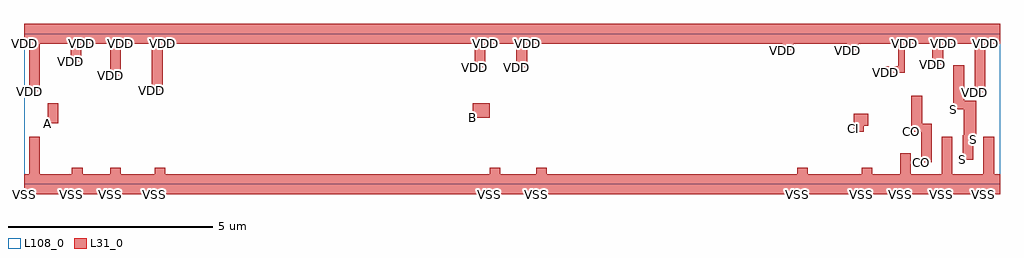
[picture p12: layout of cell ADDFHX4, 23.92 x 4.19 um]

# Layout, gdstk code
import gdstk
lib = gdstk.Library(unit=1e-6, precision=1e-09)
def R(c, l, rs):  # rectangles x0, y0, x1, y1
    for r in rs: c.add(gdstk.rectangle(r[:2], r[2:], *l))
L31_0 = (31, 0)
L108_0 = (108, 0)

addfhx4 = lib.new_cell('ADDFHX4')
R(addfhx4, L31_0, [(0,-0.25,0.125,0.25), (0.125,-0.25,0.385,1.165), (0.385,-0.25,1.175,0.25), (1.175,-0.25,1.435,0.405), (1.435,-0.25,2.115,0.25), (2.115,-0.25,2.375,0.405), (2.375,-0.25,3.205,0.25), (3.205,-0.25,3.465,0.405), (3.465,-0.25,11.41,0.25), (11.41,-0.25,11.67,0.405), (11.67,-0.25,12.55,0.25), (12.55,-0.25,12.81,0.405), (12.81,-0.25,18.945,0.25), (18.945,-0.25,19.205,0.405), (19.205,-0.25,20.535,0.25), (20.535,-0.25,20.795,0.405), (20.795,-0.25,21.475,0.25), (21.475,-0.25,21.735,0.755), (21.735,-0.25,22.495,0.25), (22.495,-0.25,22.755,1.17), (22.755,-0.25,23.515,0.25), (23.515,-0.25,23.775,1.17), (23.775,-0.25,23.92,0.25), (21.985,0.54,22.015,2.165), (22.015,0.54,22.245,1.485), (23.005,0.6,23.03,1.2), (23.03,0.6,23.04,2.92), (23.04,0.6,23.265,2.045), (23.265,1.105,23.335,2.045), (20.365,1.29,20.575,1.725), (21.745,1.29,21.985,2.165), (20.34,1.355,20.365,1.725), (20.575,1.435,20.695,1.725), (0.585,1.5,0.84,1.99), (10.995,1.635,11.41,1.99), (22.78,1.845,23.03,2.92), (23.3,2.255,23.56,3.94), (0.125,2.275,0.385,3.94), (3.135,2.31,3.395,3.94), (2.115,2.655,2.375,3.94), (21.12,2.73,21.425,2.89), (21.425,2.73,21.585,3.94), (11.05,2.87,11.31,3.94), (12.07,2.87,12.33,3.94), (22.265,2.935,22.525,3.94), (1.145,3.005,1.405,3.94), (18.59,3.285,18.85,3.94), (20.18,3.285,20.44,3.94), (0,3.44,0.125,3.94), (0.385,3.44,1.145,3.94), (1.405,3.44,2.115,3.94), (2.375,3.44,3.135,3.94), (3.395,3.44,11.05,3.94), (11.31,3.44,12.07,3.94), (12.33,3.44,18.59,3.94), (18.85,3.44,20.18,3.94), (20.44,3.44,21.425,3.94), (21.585,3.44,22.265,3.94), (22.525,3.44,23.3,3.94), (23.56,3.44,23.92,3.94)])
R(addfhx4, L108_0, [(0,0,23.92,3.69)])
addfhx4.add(gdstk.Label('S', (22.78,1.845), layer=131, texttype=0))
addfhx4.add(gdstk.Label('S', (23.005,0.6), layer=131, texttype=0))
addfhx4.add(gdstk.Label('S', (23.03,0.6), layer=131, texttype=0))
addfhx4.add(gdstk.Label('S', (23.04,0.6), layer=131, texttype=0))
addfhx4.add(gdstk.Label('S', (23.265,1.105), layer=131, texttype=0))
addfhx4.add(gdstk.Label('CO', (21.745,1.29), layer=131, texttype=0))
addfhx4.add(gdstk.Label('CO', (21.985,0.54), layer=131, texttype=0))
addfhx4.add(gdstk.Label('CO', (22.015,0.54), layer=131, texttype=0))
addfhx4.add(gdstk.Label('CI', (20.34,1.355), layer=131, texttype=0))
addfhx4.add(gdstk.Label('CI', (20.365,1.29), layer=131, texttype=0))
addfhx4.add(gdstk.Label('CI', (20.575,1.435), layer=131, texttype=0))
addfhx4.add(gdstk.Label('B', (10.995,1.635), layer=131, texttype=0))
addfhx4.add(gdstk.Label('A', (0.585,1.5), layer=131, texttype=0))
addfhx4.add(gdstk.Label('VSS', (0,-0.25), layer=131, texttype=0))
addfhx4.add(gdstk.Label('VSS', (0.125,-0.25), layer=131, texttype=0))
addfhx4.add(gdstk.Label('VSS', (0.385,-0.25), layer=131, texttype=0))
addfhx4.add(gdstk.Label('VSS', (1.175,-0.25), layer=131, texttype=0))
addfhx4.add(gdstk.Label('VSS', (1.435,-0.25), layer=131, texttype=0))
addfhx4.add(gdstk.Label('VSS', (2.115,-0.25), layer=131, texttype=0))
addfhx4.add(gdstk.Label('VSS', (2.375,-0.25), layer=131, texttype=0))
addfhx4.add(gdstk.Label('VSS', (3.205,-0.25), layer=131, texttype=0))
addfhx4.add(gdstk.Label('VSS', (3.465,-0.25), layer=131, texttype=0))
addfhx4.add(gdstk.Label('VSS', (11.41,-0.25), layer=131, texttype=0))
addfhx4.add(gdstk.Label('VSS', (11.67,-0.25), layer=131, texttype=0))
addfhx4.add(gdstk.Label('VSS', (12.55,-0.25), layer=131, texttype=0))
addfhx4.add(gdstk.Label('VSS', (12.81,-0.25), layer=131, texttype=0))
addfhx4.add(gdstk.Label('VSS', (18.945,-0.25), layer=131, texttype=0))
addfhx4.add(gdstk.Label('VSS', (19.205,-0.25), layer=131, texttype=0))
addfhx4.add(gdstk.Label('VSS', (20.535,-0.25), layer=131, texttype=0))
addfhx4.add(gdstk.Label('VSS', (20.795,-0.25), layer=131, texttype=0))
addfhx4.add(gdstk.Label('VSS', (21.475,-0.25), layer=131, texttype=0))
addfhx4.add(gdstk.Label('VSS', (21.735,-0.25), layer=131, texttype=0))
addfhx4.add(gdstk.Label('VSS', (22.495,-0.25), layer=131, texttype=0))
addfhx4.add(gdstk.Label('VSS', (22.755,-0.25), layer=131, texttype=0))
addfhx4.add(gdstk.Label('VSS', (23.515,-0.25), layer=131, texttype=0))
addfhx4.add(gdstk.Label('VSS', (23.775,-0.25), layer=131, texttype=0))
addfhx4.add(gdstk.Label('VDD', (0,3.44), layer=131, texttype=0))
addfhx4.add(gdstk.Label('VDD', (0.125,2.275), layer=131, texttype=0))
addfhx4.add(gdstk.Label('VDD', (0.385,3.44), layer=131, texttype=0))
addfhx4.add(gdstk.Label('VDD', (1.145,3.005), layer=131, texttype=0))
addfhx4.add(gdstk.Label('VDD', (1.405,3.44), layer=131, texttype=0))
addfhx4.add(gdstk.Label('VDD', (2.115,2.655), layer=131, texttype=0))
addfhx4.add(gdstk.Label('VDD', (2.375,3.44), layer=131, texttype=0))
addfhx4.add(gdstk.Label('VDD', (3.135,2.31), layer=131, texttype=0))
addfhx4.add(gdstk.Label('VDD', (3.395,3.44), layer=131, texttype=0))
addfhx4.add(gdstk.Label('VDD', (11.05,2.87), layer=131, texttype=0))
addfhx4.add(gdstk.Label('VDD', (11.31,3.44), layer=131, texttype=0))
addfhx4.add(gdstk.Label('VDD', (12.07,2.87), layer=131, texttype=0))
addfhx4.add(gdstk.Label('VDD', (12.33,3.44), layer=131, texttype=0))
addfhx4.add(gdstk.Label('VDD', (18.59,3.285), layer=131, texttype=0))
addfhx4.add(gdstk.Label('VDD', (18.85,3.44), layer=131, texttype=0))
addfhx4.add(gdstk.Label('VDD', (20.18,3.285), layer=131, texttype=0))
addfhx4.add(gdstk.Label('VDD', (20.44,3.44), layer=131, texttype=0))
addfhx4.add(gdstk.Label('VDD', (21.12,2.73), layer=131, texttype=0))
addfhx4.add(gdstk.Label('VDD', (21.425,2.73), layer=131, texttype=0))
addfhx4.add(gdstk.Label('VDD', (21.585,3.44), layer=131, texttype=0))
addfhx4.add(gdstk.Label('VDD', (22.265,2.935), layer=131, texttype=0))
addfhx4.add(gdstk.Label('VDD', (22.525,3.44), layer=131, texttype=0))
addfhx4.add(gdstk.Label('VDD', (23.3,2.255), layer=131, texttype=0))
addfhx4.add(gdstk.Label('VDD', (23.56,3.44), layer=131, texttype=0))

lib.write_gds('ADDFHX4.gds')
